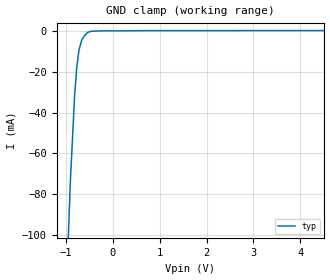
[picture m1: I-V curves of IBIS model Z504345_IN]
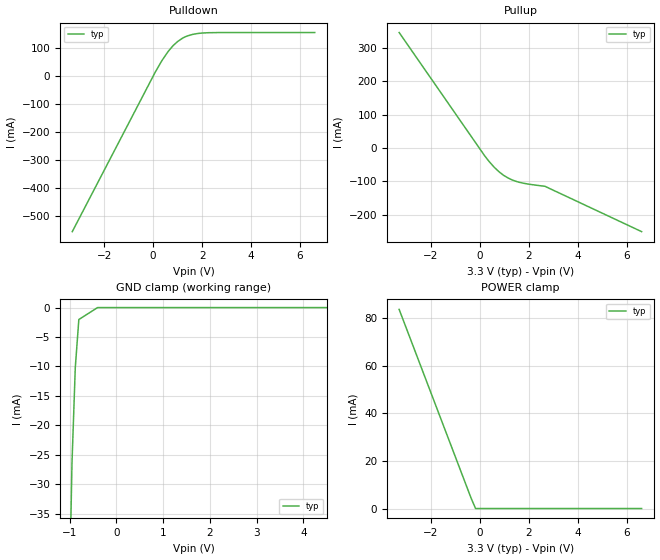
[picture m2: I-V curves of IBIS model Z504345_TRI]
| YOU ARE ONLY AUTHORIZED TO USE THIS SOFTWARE
| ACCORDING TO LICENSOR'S LICENSE RESTRICTIONS.
[IBIS Ver] 3.1
[File Name] mc74lcx373dw.ibs
[File Rev] 2.0
[Source] Measured and created by ICX Technology
[Date] Friday 7/14/00 9:08:12 AM
[Copyright]
| (C) COPYRIGHT 1993-2000
| MENTOR GRAPHICS CORPORATION
| ICX STANDARD LIBRARY, ICX PROJECT MODELING,
| ICX CUSTOM MODELING, ICX VENDOR MODEL
| ALL RIGHTS RESERVED.
| THE FOLLOWING ARE TRADEMARKS OR SERVICE MARKS OF
| MENTOR GRAPHICS CORPORATION:ICX (R), ICX STANDARD
| LIBRARY(R), ICX PROJECT MODELING(R), ICX CUSTOM
| MODELING(R), qualityIBIS(TM), MODELVIEWER(TM),
| AND MODELEDITOR(TM)
| ALL COPIES OF SOFTWARE, INCLUDING BUT NOT LIMITED TO
| ANY MODIFICATIONS, ENHANCEMENTS OR DERIVATIVE WORKS,
| MUST CONTAIN ALL MENTOR GRAPHICS CORPORATION'S
| NOTICES AND LEGENDS, INCLUDING THOSE EMBEDDED IN
| SOFTWARE AND THOSE AFFIXED TO SOFTWARE MEDIUM
| AND CONTAINER, AS RECEIVED FROM MENTOR GRAPHICS
| CORPORATION.
|  ZAP Model Builder 2.7
[Component] MC74LCX373DW
[Manufacturer] OnSemiconductor
[Package]
| variable   typ   min   max
R_pkg  .178ohms NA NA
L_pkg  4.43nH NA NA
C_pkg  .62pF NA NA
[Pin] signal_name  model_name  R_pin  L_pin C_pin
1 _G Z504345_IN .186 5.37n .68p
2 Q0 Z504345_TRI .182 4.89n .65p
3 D0 Z504345_IN .178 4.42n .62p
4 D1 Z504345_IN .174 3.96n .59p
5 Q1 Z504345_TRI .17 3.51n .56p
6 Q2 Z504345_TRI .17 3.51n .56p
7 D2 Z504345_IN .174 3.96n .59p
8 D3 Z504345_IN .178 4.42n .62p
9 Q3 Z504345_TRI .182 4.89n .65p
10 GROUND GND .186 5.37n .68p
11 C Z504345_IN .186 5.37n .68p
12 Q4 Z504345_TRI .182 4.89n .65p
13 D4 Z504345_IN .178 4.42n .62p
14 D5 Z504345_IN .174 3.96n .59p
15 Q5 Z504345_TRI .17 3.51n .56p
16 Q6 Z504345_TRI .17 3.51n .56p
17 D6 Z504345_IN .174 3.96n .59p
18 D7 Z504345_IN .178 4.42n .62p
19 Q7 Z504345_TRI .182 4.89n .65p
20 VCC POWER .186 5.37n .68p
| Models and submodels in the file (2): Z504345_IN (Input), Z504345_TRI (3-state)
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| (C) COPYRIGHT 1993-2000
| MENTOR GRAPHICS CORPORATION
| ICX STANDARD LIBRARY, ICX PROJECT MODELING,
| ICX CUSTOM MODELING, ICX VENDOR MODEL
| ALL RIGHTS RESERVED.
| THE FOLLOWING ARE TRADEMARKS OR SERVICE MARKS OF
| MENTOR GRAPHICS CORPORATION:ICX (R), ICX STANDARD
| LIBRARY(R), ICX PROJECT MODELING(R), ICX CUSTOM
| MODELING(R), qualityIBIS(TM), MODELVIEWER(TM),
| AND MODELEDITOR(TM)
| ALL COPIES OF SOFTWARE, INCLUDING BUT NOT LIMITED TO
| ANY MODIFICATIONS, ENHANCEMENTS OR DERIVATIVE WORKS,
| MUST CONTAIN ALL MENTOR GRAPHICS CORPORATION'S
| NOTICES AND LEGENDS, INCLUDING THOSE EMBEDDED IN
| SOFTWARE AND THOSE AFFIXED TO SOFTWARE MEDIUM
| AND CONTAINER, AS RECEIVED FROM MENTOR GRAPHICS
| CORPORATION.
| Model Application Version 1.89 2/18/99.
[Model] Z504345_IN
Model_type Input
Vinl = 800.0mV
Vinh = 2.000V
C_comp 4.000pF NA NA
| variable typ   min   max
[Voltage Range] 3.300V NA NA
[GND Clamp Reference] 0.000V NA NA
[POWER Clamp Reference] 3.300V NA NA
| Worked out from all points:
|   GND clamp passes 1 mA (typ) near -0.55 V on its own axis
[GND Clamp]
-3.3V     -1.599A    NA         NA
-907.9mV  -75.23mA   NA         NA
-814.3mV  -31.64mA   NA         NA
-770.4mV  -18.36mA   NA         NA
-721.9mV  -9.409mA   NA         NA
-663.3mV  -4.484mA   NA         NA
-605.9mV  -2.327mA   NA         NA
-531.7mV  -633.6uA   NA         NA
-449.2mV  -86.25uA   NA         NA
-224.6mV  77.74uA    NA         NA
6.6V      221.7uA    NA         NA
[POWER Clamp]
-3.3V     0A         NA         NA
6.6V      0A         NA         NA
| (C) COPYRIGHT 1993-2000
| MENTOR GRAPHICS CORPORATION
| ICX STANDARD LIBRARY, ICX PROJECT MODELING,
| ICX CUSTOM MODELING, ICX VENDOR MODEL
| ALL RIGHTS RESERVED.
| THE FOLLOWING ARE TRADEMARKS OR SERVICE MARKS OF
| MENTOR GRAPHICS CORPORATION:ICX (R), ICX STANDARD
| LIBRARY(R), ICX PROJECT MODELING(R), ICX CUSTOM
| MODELING(R), qualityIBIS(TM), MODELVIEWER(TM),
| AND MODELEDITOR(TM)
| ALL COPIES OF SOFTWARE, INCLUDING BUT NOT LIMITED TO
| ANY MODIFICATIONS, ENHANCEMENTS OR DERIVATIVE WORKS,
| MUST CONTAIN ALL MENTOR GRAPHICS CORPORATION'S
| NOTICES AND LEGENDS, INCLUDING THOSE EMBEDDED IN
| SOFTWARE AND THOSE AFFIXED TO SOFTWARE MEDIUM
| AND CONTAINER, AS RECEIVED FROM MENTOR GRAPHICS
| CORPORATION.
| Model Application Version 1.89 2/18/99.
[Model] Z504345_TRI
Model_type 3-state
Vref=0.000V
Rref=500.0ohms
Cref=50.00pF
Vmeas=1.500V
C_comp 8.000pF NA NA
| variable typ   min   max
[Voltage Range] 3.300V NA NA
[POWER Clamp Reference] 3.300V NA NA
[Pullup Reference] 3.300V NA NA
[Pulldown Reference] 0.000V NA NA
[GND Clamp Reference] 0.000V NA NA
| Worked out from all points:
|   slope of the pulldown table from 0 to 0.495 V, typ, clamps not added: 6.74 ohm
|   slope of the pullup table from 0 to 0.495 V, typ, clamps not added: 10.4 ohm
|   POWER clamp passes 1 mA (typ) near -0.22 V on its own axis
[GND Clamp]
-3.3V     -982.7mA   NA         NA
-947.3mV  -26.48mA   NA         NA
-876.7mV  -10.21mA   NA         NA
-800.8mV  -2.03mA    NA         NA
-400.4mV  0A         NA         NA
6.6V      0A         NA         NA
[Pulldown]
-3.3V     -557.3mA   NA         NA
89.91mV   15.28mA    NA         NA
366.6mV   57.17mA    NA         NA
627.8mV   90.52mA    NA         NA
1.01V     125.3mA    NA         NA
1.406V    144.9mA    NA         NA
1.777V    152.9mA    NA         NA
2.116V    155.7mA    NA         NA
6.6V      156.9mA    NA         NA
[Pullup]
-3.3V     346.7mA    NA         NA
190mV     -23.22mA   NA         NA
591mV     -58.48mA   NA         NA
777mV     -71.34mA   NA         NA
1.157V    -90.44mA   NA         NA
1.507V    -100.9mA   NA         NA
2.654V    -115mA     NA         NA
6.6V      -251.1mA   NA         NA
[POWER Clamp]
-3.3V     83.7mA     NA         NA
-360mV    4.298mA    NA         NA
-180mV    0A         NA         NA
6.6V      0A         NA         NA
[Ramp]
| variable typ min max
dV/dt_r 1.961/450.8p NA NA
dV/dt_f 1.961/1.344n NA NA
R_load = 500.0Ohms
